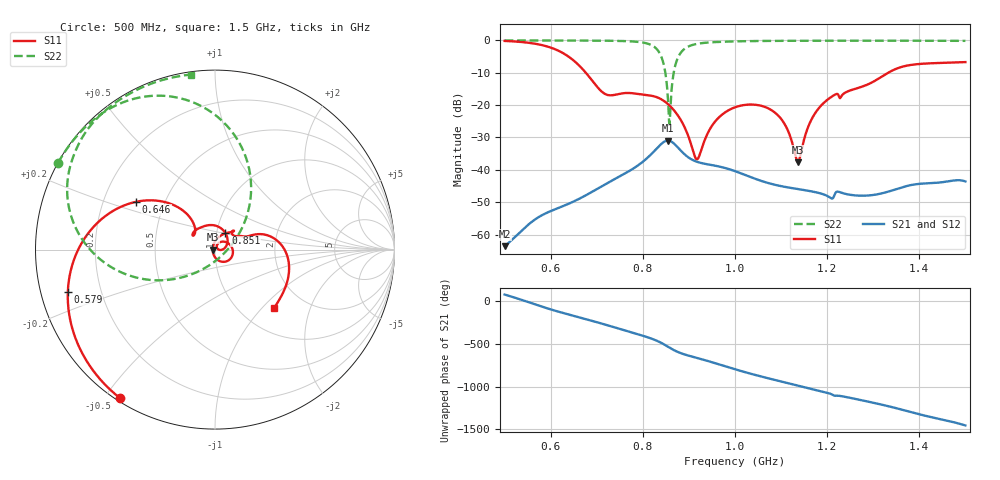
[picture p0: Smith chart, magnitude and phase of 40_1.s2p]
! TOUCHSTONE file generated by CST MICROWAVE STUDIO
! Date and time: Mon Oct 26 12:10:26 2020
! Project name: Scenario_1_Circular_Tissue_out_of_Line_v2.cst
! Parameters = {dy1=328.7; L_HA=400; MT=2.54; Rad_Dielectric=30; Rad_Lower=7.3; Rad_Upper=30; a_HA=580; a_WG=246; b_HA=500; b_WG=121; c_HA=0; c_WG=187; d_feed=85; dx1=173; h_feed=15; h_lower=18; h_upper=40}
! Header version: 2018
! Port assignment regex: !\s*Touchstone port\s*([0-9]+)\s*=\s*(CST MWS port|CST DS port)\s*([0-9]+|Zmin|Zmax)\s*\(\"(.*)\"\)(\s*mode\s*([0-9]+))?.*
! Touchstone port assignment:
! Touchstone port 1 = CST MWS port 1 ("")
! Touchstone port 2 = CST MWS port 2 ("")
# GHz S DB R 50
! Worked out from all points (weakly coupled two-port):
!   1003 points, 500 MHz to 1.5 GHz, reference 50 ohm
!   highest |S21| = -30.96 dB at 854 MHz (marker M1); lowest = -63.6 dB at 500 MHz (marker M2)
!   lowest |S11| = -37.6 dB at 1.136 GHz (marker M3), VSWR 1.03, Z = 48.7 - j0.0909 ohm
!   |S11| at or under -10 dB: 676.3 MHz to 1.332 GHz (655.9 MHz wide, 65.3 % of centre)
!   |S22| runs from -25.8 to 0.0 dB; largest |S21 - S12| = 2.6e-05
!   S11 on the Smith chart (normalised r, x): 500 MHz: 0.01, -0.55; 579 MHz: 0.08, -0.14; 646 MHz: 0.34, +0.25; 851 MHz: 1.10, +0.21; 1.5 GHz: 1.41, -1.17
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0.5  -0.16 -122.5  -63.61 75.2  -63.61 75.2  -0.01 151.1
0.579  -1.38 -163.9  -54.20 -62.6  -54.20 -62.6  -0.02 145.7
0.646  -5.77 148.9  -50.05 -167.9  -50.05 -167.9  -0.03 140.3
0.667  -8.52 135.7  -48.58 161.7  -48.58 161.7  -0.04 138.4
0.719  -16.62 138.6  -44.44 83.2  -44.44 83.2  -0.09 132.4
0.779  -16.35 133.2  -39.63 -11.6  -39.63 -11.6  -0.33 120.6
0.834  -17.76 82.3  -32.83 -113.4  -32.83 -113.4  -3.36 83.2
0.851  -19.26 57.6  -31.02 -162.5  -31.02 -162.5  -12.24 45.1
0.854  -19.62 53.1  -30.96 -172.2  -30.96 -172.2  -16.94 29.8
0.86  -20.42 44.1  -31.15 168.5  -31.15 168.5  -20.20 -112.0
0.868  -21.67 32.1  -31.95 144.8  -31.95 144.8  -9.21 -150.4
0.883  -24.76 11.2  -34.16 109.5  -34.16 109.5  -3.67 -176.3
0.917  -36.78 29.1  -37.49 55.5  -37.49 55.5  -1.08 158.8
0.954  -25.58 53.8  -38.65 -1.5  -38.65 -1.5  -0.53 147.8
1  -20.68 11.2  -40.41 -77.1  -40.41 -77.1  -0.29 140.3
1.088  -22.47 -62.5  -44.67 155.9  -44.68 155.9  -0.14 130.8
1.113  -27.28 -89.5  -45.40 122.7  -45.40 122.7  -0.12 128.6
1.136  -37.64 -175.9  -45.94 92.3  -45.94 92.3  -0.11 126.7
1.167  -24.17 79.1  -46.69 51.7  -46.69 51.7  -0.10 124.2
1.213  -17.10 45.5  -48.67 -19.2  -48.62 -19.4  -0.09 120.6
1.334  -9.86 12.8  -46.69 -150.5  -46.69 -150.5  -0.08 111.5
1.5  -6.70 -44.7  -43.60 -13.6  -43.60 -13.7  -0.13 97.9
